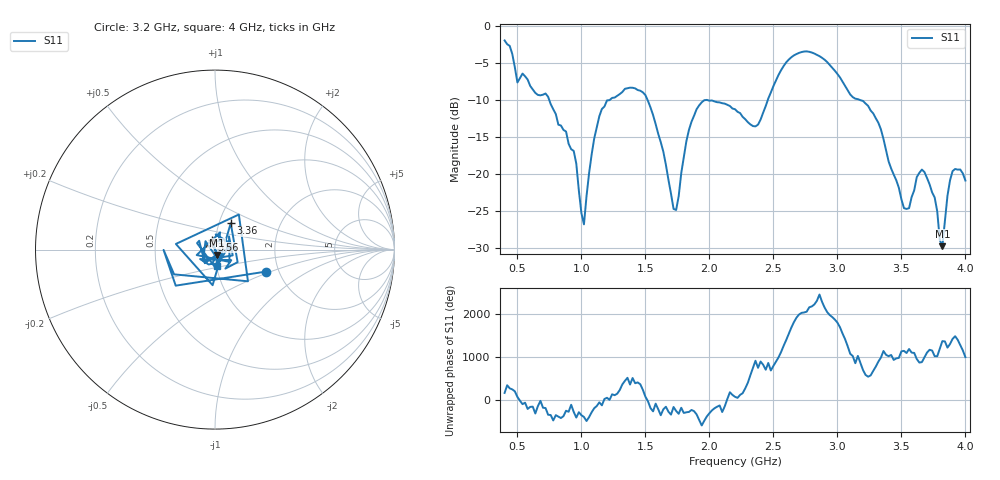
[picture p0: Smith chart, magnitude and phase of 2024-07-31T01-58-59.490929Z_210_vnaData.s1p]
!Created with skrf (http://scikit-rf.org).
# Hz S RI R 50.0
!freq ReS11 ImS11
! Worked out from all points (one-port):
!   181 points, 400 MHz to 4 GHz, reference 50 ohm
!   lowest |S11| = -29.8 dB at 3.82 GHz (marker M1), VSWR 1.07, Z = 51 - j3.1 ohm
!   |S11| at or under -10 dB: 747.4 MHz to 1.225 GHz (478 MHz wide, 48.5 % of centre); 1.515 GHz to 2.457 GHz (942 MHz wide, 47.4 % of centre); 3.167 GHz to end of sweep
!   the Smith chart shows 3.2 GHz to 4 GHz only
!   S11 on the Smith chart (normalised r, x): 3.2 GHz: 1.71, -0.46; 3.36 GHz: 1.14, +0.34; 3.56 GHz: 0.96, +0.11; 4 GHz: 1.00, -0.18
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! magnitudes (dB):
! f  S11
! 400 MHz  -2.0
! 500 MHz  -7.7
! 720 MHz  -9.2
! 860 MHz  -14.1
! 940 MHz  -16.9
! 1.02 GHz  -26.9
! 1.08 GHz  -17.4
! 1.14 GHz  -12.3
! 1.3 GHz  -9.3
! 1.5 GHz  -9.4
! 1.64 GHz  -17.0
! 1.72 GHz  -24.8
! 1.76 GHz  -23.1
! 1.82 GHz  -15.6
! 1.9 GHz  -11.3
! 2.2 GHz  -11.3
! 2.38 GHz  -13.4
! 2.66 GHz  -4.0
! 2.88 GHz  -4.4
! 3.1 GHz  -9.3
! 3.2 GHz  -10.2
! 3.36 GHz  -15.3
! 3.56 GHz  -24.7
! 3.68 GHz  -19.8
! 3.76 GHz  -23.2
! 3.82 GHz  -29.8
! 3.9 GHz  -19.7
! 4 GHz  -20.9
